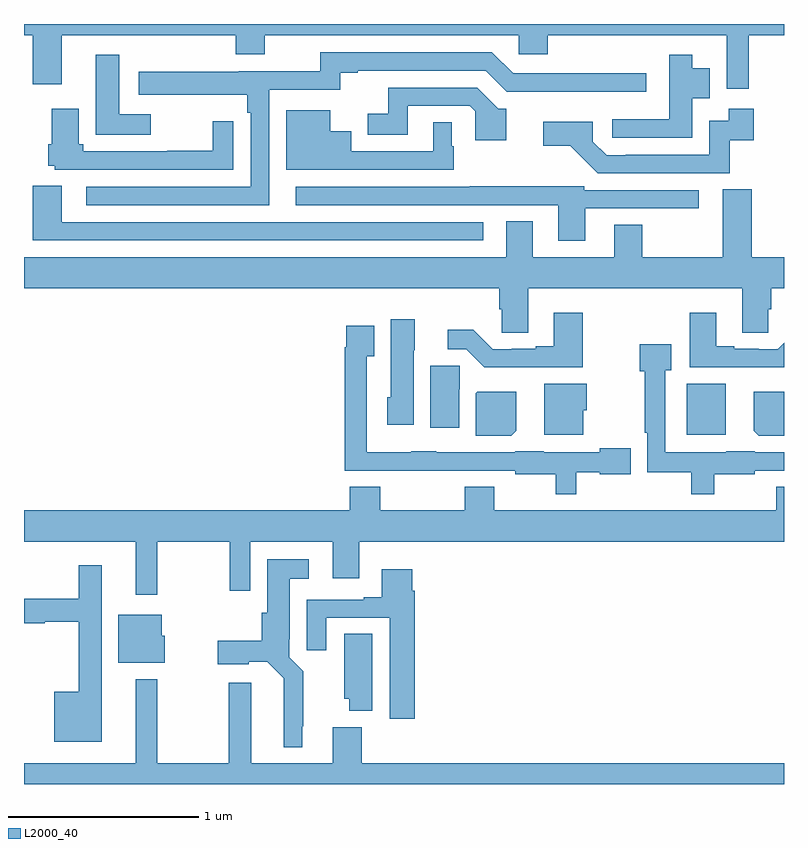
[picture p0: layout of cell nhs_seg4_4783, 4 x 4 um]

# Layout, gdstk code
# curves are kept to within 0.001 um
import gdstk
lib = gdstk.Library(unit=1e-6, precision=1e-09)
def R(c, l, rs):  # rectangles x0, y0, x1, y1
    for r in rs: c.add(gdstk.rectangle(r[:2], r[2:], *l))
def P(c, l, *ps):  # polygons
    for p in ps: c.add(gdstk.Polygon(p, *l))
L2000_40 = (2000, 40)

nhs_seg4_4783 = lib.new_cell('nhs_seg4_4783')
R(nhs_seg4_4783, L2000_40, [(372.488,774.737,372.694,775.006)])
P(nhs_seg4_4783, L2000_40, [(372.815,776.84),(373,776.84),(373,776.9),(369,776.9),(369,776.84),(369.047,776.84),(369.047,776.583),(369.199,776.583),(369.199,776.84),(370.115,776.84),(370.115,776.741),(370.267,776.741),(370.267,776.84),(371.604,776.84),(371.604,776.742),(371.756,776.742),(371.756,776.84),(372.698,776.84),(372.698,776.559),(372.815,776.559)],
  [(370.29,776.553),(370.664,776.553),(370.664,776.643),(370.756,776.643),(370.756,776.655),(371.43,776.655),(371.541,776.544),(372.274,776.543),(372.274,776.642),(371.839,776.642),(371.839,776.64),(371.574,776.64),(371.463,776.751),(370.558,776.751),(370.558,776.651),(369.603,776.65),(369.603,776.528),(370.174,776.528),(370.174,776.432),(370.194,776.432),(370.194,776.043),(369.327,776.043),(369.327,775.947),(370.29,775.947)],
  [(369.667,776.425),(369.502,776.425),(369.502,776.737),(369.377,776.737),(369.377,776.318),(369.667,776.318)],
  [(372.517,776.51),(372.61,776.51),(372.61,776.668),(372.517,776.668),(372.517,776.737),(372.395,776.737),(372.395,776.398),(372.096,776.398),(372.096,776.301),(372.517,776.301)],
  [(371.539,776.455),(371.496,776.455),(371.386,776.565),(370.918,776.565),(370.918,776.428),(370.808,776.428),(370.808,776.318),(371.02,776.318),(371.02,776.469),(371.347,776.469),(371.375,776.441),(371.375,776.288),(371.539,776.288)],
  [(372.715,776.288),(372.841,776.288),(372.841,776.455),(372.71,776.455),(372.71,776.392),(372.606,776.392),(372.606,776.211),(372.166,776.211),(372.166,776.208),(372.066,776.208),(371.994,776.28),(371.994,776.386),(371.733,776.386),(371.733,776.258),(371.874,776.258),(371.946,776.187),(371.947,776.188),(372.02,776.115),(372.715,776.115)],
  [(370.101,776.389),(369.993,776.389),(369.993,776.234),(369.754,776.234),(369.754,776.229),(369.311,776.229),(369.311,776.268),(369.289,776.268),(369.289,776.455),(369.146,776.455),(369.146,776.268),(369.128,776.268),(369.128,776.154),(369.162,776.154),(369.162,776.133),(370.101,776.133)],
  [(370.619,776.133),(371.263,776.133),(371.263,776.256),(371.251,776.256),(371.251,776.384),(371.153,776.384),(371.153,776.229),(370.723,776.229),(370.723,776.335),(370.612,776.335),(370.612,776.446),(370.379,776.446),(370.379,776.132),(370.619,776.132)],
  [(371.416,775.857),(369.199,775.857),(369.199,776.048),(369.047,776.048),(369.047,775.761),(371.416,775.761)],
  [(371.953,775.929),(372.55,775.929),(372.55,776.025),(371.949,776.025),(371.949,776.045),(371.549,776.045),(371.549,776.046),(371.347,776.046),(371.347,776.043),(370.431,776.043),(370.431,775.947),(371.813,775.947),(371.813,775.758),(371.953,775.758)],
  [(371.653,775.508),(372.779,775.508),(372.779,775.276),(372.918,775.276),(372.918,775.398),(372.932,775.398),(372.932,775.508),(373,775.508),(373,775.672),(372.83,775.672),(372.83,776.03),(372.677,776.03),(372.677,775.672),(372.255,775.672),(372.255,775.844),(372.107,775.844),(372.107,775.672),(371.677,775.672),(371.677,775.862),(371.537,775.862),(371.537,775.672),(369,775.672),(369,775.508),(371.501,775.508),(371.501,775.398),(371.514,775.398),(371.514,775.276),(371.653,775.276)],
  [(373,775.222),(372.966,775.188),(372.866,775.188),(372.866,775.191),(372.739,775.191),(372.739,775.204),(372.643,775.204),(372.643,775.381),(372.503,775.381),(372.503,775.094),(373,775.094)],
  [(371.942,775.381),(371.789,775.381),(371.789,775.204),(371.693,775.204),(371.693,775.191),(371.566,775.191),(371.566,775.188),(371.466,775.188),(371.364,775.291),(371.229,775.291),(371.229,775.188),(371.328,775.188),(371.423,775.094),(371.942,775.094)],
  [(371.05,775.182),(371.056,775.182),(371.056,775.345),(370.931,775.345),(370.931,774.936),(370.913,774.936),(370.913,774.792),(371.05,774.792)],
  [(371.907,774.542),(372.03,774.542),(372.03,774.53),(372.193,774.53),(372.193,774.667),(372.03,774.667),(372.03,774.646),(371.736,774.646),(371.736,774.652),(371.586,774.652),(371.586,774.645),(371.169,774.645),(371.169,774.652),(371.037,774.652),(371.037,774.646),(370.803,774.646),(370.803,775.151),(370.843,775.151),(370.843,775.312),(370.695,775.312),(370.695,775.199),(370.687,775.199),(370.687,774.549),(370.937,774.549),(370.937,774.548),(371.169,774.548),(371.169,774.549),(371.586,774.549),(371.586,774.53),(371.799,774.53),(371.799,774.425),(371.907,774.425)],
  [(372.634,774.53),(372.846,774.53),(372.846,774.549),(373,774.549),(373,774.645),(372.846,774.645),(372.846,774.652),(372.696,774.652),(372.696,774.646),(372.375,774.646),(372.375,775.078),(372.406,775.078),(372.406,775.215),(372.241,775.215),(372.241,775.073),(372.267,775.073),(372.267,774.748),(372.279,774.748),(372.279,774.542),(372.513,774.542),(372.513,774.425),(372.634,774.425)],
  [(371.29,774.978),(371.294,774.978),(371.294,775.101),(371.138,775.101),(371.138,774.774),(371.29,774.774)],
  [(371.944,774.867),(371.962,774.867),(371.962,775.006),(371.738,775.006),(371.738,774.737),(371.944,774.737)],
  [(371.59,774.76),(371.59,774.964),(371.386,774.964),(371.378,774.956),(371.378,774.734),(371.564,774.734)],
  [(373,774.964),(372.842,774.964),(372.842,774.76),(372.868,774.734),(373,774.734)],
  [(369.701,774.176),(370.083,774.176),(370.083,773.916),(370.191,773.916),(370.191,774.176),(370.625,774.176),(370.625,773.982),(370.765,773.982),(370.765,774.176),(373,774.176),(373,774.464),(372.958,774.464),(372.958,774.34),(371.475,774.34),(371.475,774.464),(371.32,774.464),(371.32,774.34),(370.875,774.34),(370.875,774.464),(370.715,774.464),(370.715,774.34),(369,774.34),(369,774.176),(369.587,774.176),(369.587,773.895),(369.701,773.895)],
  [(370.465,773.203),(370.469,773.203),(370.469,773.494),(370.395,773.568),(370.395,773.662),(370.399,773.662),(370.399,773.981),(370.498,773.981),(370.498,774.082),(370.28,774.082),(370.28,773.802),(370.25,773.802),(370.25,773.653),(370.02,773.653),(370.02,773.531),(370.182,773.531),(370.182,773.543),(370.281,773.543),(370.368,773.456),(370.367,773.093),(370.465,773.093)],
  [(369.409,774.052),(369.288,774.052),(369.288,773.875),(369,773.875),(369,773.746),(369.109,773.746),(369.109,773.754),(369.288,773.754),(369.288,773.386),(369.158,773.386),(369.158,773.123),(369.409,773.123)],
  [(371.057,773.918),(371.044,773.918),(371.044,774.031),(370.883,774.031),(370.883,773.884),(370.787,773.884),(370.787,773.871),(370.487,773.871),(370.487,773.604),(370.591,773.604),(370.591,773.775),(370.925,773.775),(370.925,773.244),(371.057,773.244)],
  [(369.742,773.679),(369.724,773.679),(369.724,773.791),(369.497,773.791),(369.497,773.537),(369.742,773.537)],
  [(370.834,773.69),(370.685,773.69),(370.685,773.349),(370.712,773.349),(370.712,773.285),(370.834,773.285)],
  [(373,773.008),(370.778,773.008),(370.778,773.2),(370.625,773.2),(370.625,773.008),(370.195,773.008),(370.195,773.434),(370.078,773.434),(370.078,773.008),(369.701,773.008),(369.701,773.452),(369.587,773.452),(369.587,773.008),(369,773.008),(369,772.9),(373,772.9)])

lib.write_gds('nhs_seg4_4783.gds')
